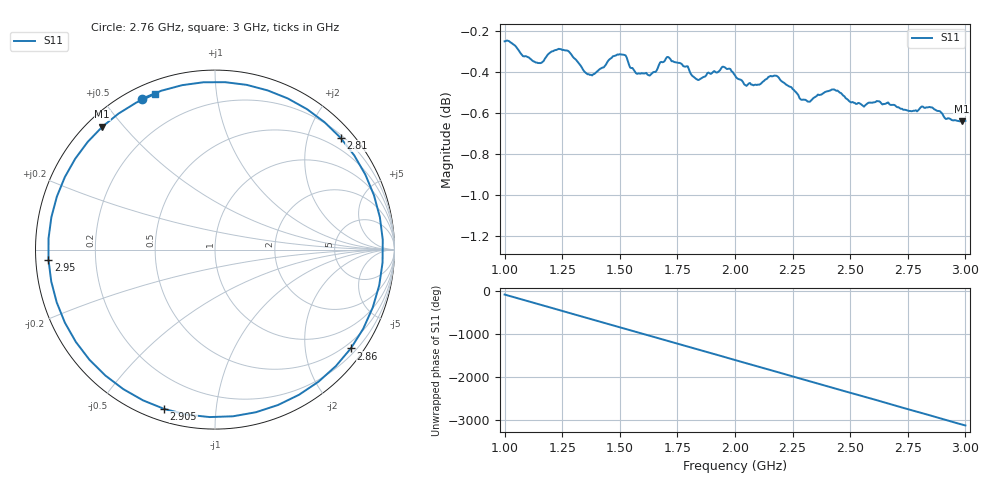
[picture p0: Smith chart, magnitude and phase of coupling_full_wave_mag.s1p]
!  02.03.2026  11:19:08
! Ref Plane: 0,000 mm
# MHZ S MA R  50
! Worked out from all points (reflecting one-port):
!   401 points, 1 GHz to 3 GHz, reference 50 ohm
!   lowest |S11| = -0.6 dB at 2.985 GHz (marker M1), VSWR 27.15, Z = 2.2 + j21.9 ohm
!   phase of S11 starts at -84 deg and turns -3045 deg over the sweep
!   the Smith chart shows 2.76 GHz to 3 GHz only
!   S11 on the Smith chart (normalised r, x): 2.76 GHz: 0.05, +0.62; 2.81 GHz: 0.26, +2.61; 2.86 GHz: 0.34, -3.04; 2.905 GHz: 0.05, -0.73; 2.95 GHz: 0.04, -0.03; 3 GHz: 0.05, +0.69
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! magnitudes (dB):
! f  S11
! 1 GHz  -0.3
! 1.145 GHz  -0.4
! 1.25 GHz  -0.3
! 1.37 GHz  -0.4
! 1.5 GHz  -0.3
! 1.58 GHz  -0.4
! 1.635 GHz  -0.4
! 1.71 GHz  -0.3
! 1.75 GHz  -0.4
! 1.835 GHz  -0.4
! 1.95 GHz  -0.4
! 2 GHz  -0.4
! 2.045 GHz  -0.5
! 2.085 GHz  -0.5
! 2.175 GHz  -0.4
! 2.25 GHz  -0.5
! 2.315 GHz  -0.5
! 2.425 GHz  -0.5
! 2.5 GHz  -0.5
! 2.62 GHz  -0.5
! 2.75 GHz  -0.6
! 2.76 GHz  -0.6
! 2.81 GHz  -0.6
! 2.86 GHz  -0.6
! 2.905 GHz  -0.6
! 2.95 GHz  -0.6
! 2.985 GHz  -0.6
! 3 GHz  -0.6
